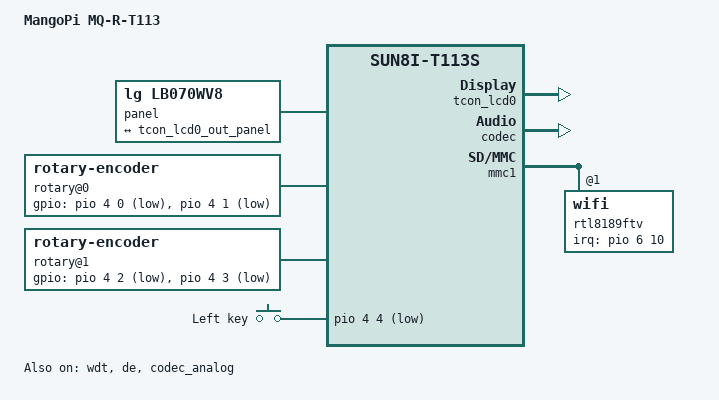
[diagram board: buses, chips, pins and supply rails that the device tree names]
// SPDX-License-Identifier: (GPL-2.0+ OR MIT)
// Copyright (C) 2022 Arm Ltd.

#include <dt-bindings/interrupt-controller/irq.h>

/dts-v1/;

#include "sun8i-t113s.dtsi"
#include "sunxi-d1s-t113-mangopi-mq-r.dtsi"

/ {
	model = "MangoPi MQ-R-T113";
	compatible = "widora,mangopi-mq-r-t113", "allwinner,sun8i-t113s";

	aliases {
		ethernet0 = &rtl8189ftv;
	};

	panel {
                compatible = "lg,lb070wv8", "simple-panel";
		port {
			panel_input: endpoint {
				remote-endpoint = <&tcon_lcd0_out_panel>;
			};
		};
	};

	rotary@0 {
		compatible = "rotary-encoder";
		gpios = <&pio 4 0 GPIO_ACTIVE_LOW>, <&pio 4 1 GPIO_ACTIVE_LOW>; /* PE0, PE1 */
		linux,axis = <0>; /* REL_X */
		rotary-encoder,encoding = "binary";
		rotary-encoder,relative-axis;
		status = "okay";
	};

	rotary@1 {
                compatible = "rotary-encoder";
		gpios = <&pio 4 2 GPIO_ACTIVE_LOW>, <&pio 4 3 GPIO_ACTIVE_LOW>; /* PE2, PE3 */
                linux,axis = <1>; /* REL_Y */
                rotary-encoder,encoding = "binary";
                rotary-encoder,relative-axis;
                rotary-encoder,rollover;
                status = "okay";
	};

        buttonkeys {
                compatible = "gpio-keys";
                status = "okay";
                button@0 {
                        label = "Left key";
                        gpios = <&pio 4 4 GPIO_ACTIVE_LOW>; /* PE4 */
                        linux,code = <105>; /* KEY_LEFT */
                };
        };

};


&wdt {
	status = "okay";
};

&de {
	status = "okay";
};

&tcon_lcd0 {
	pinctrl-names = "default";
	pinctrl-0 = <&lcd_rgb666_pins>;
	status = "okay";
};

&tcon_lcd0_out {
	tcon_lcd0_out_panel: endpoint@0 {
		reg = <0>;
		remote-endpoint = <&panel_input>;
	};
};

&codec_analog {
	status = "okay";
};

&codec {
	status = "okay";
};

&cpu0 {
	cpu-supply = <&reg_vcc_core>;
};

&cpu1 {
	cpu-supply = <&reg_vcc_core>;
};

&mmc1 {
	rtl8189ftv: wifi@1 {
		reg = <1>;
		interrupt-parent = <&pio>;
		interrupts = <6 10 IRQ_TYPE_LEVEL_LOW>; /* PG10 = WL_WAKE_AP */
		interrupt-names = "host-wake";
	};
};
